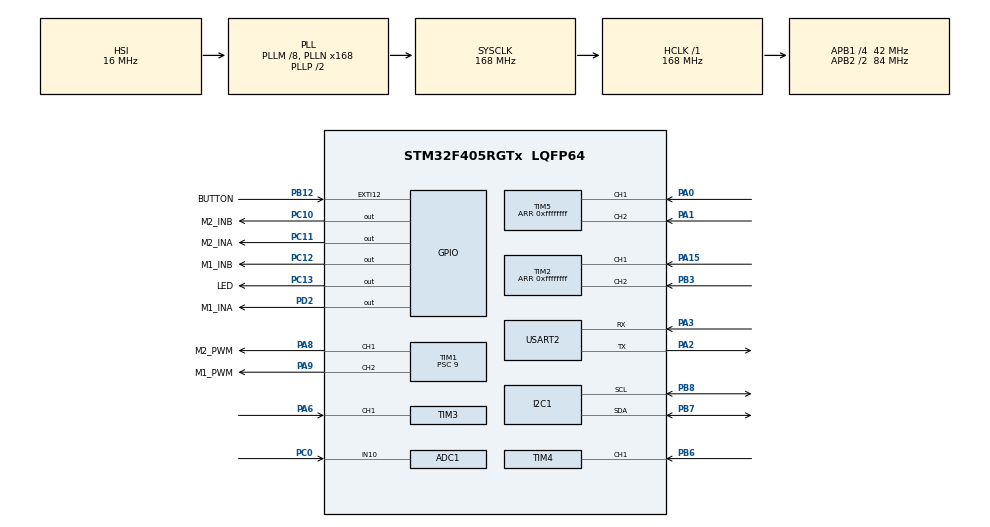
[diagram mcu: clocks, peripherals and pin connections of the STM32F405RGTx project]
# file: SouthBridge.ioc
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ADC1.Channel-4\#ChannelRegularConversion=ADC_CHANNEL_10
ADC1.Channel-5\#ChannelRegularConversion=ADC_CHANNEL_10
ADC1.ContinuousConvMode=ENABLE
ADC1.DMAContinuousRequests=ENABLE
ADC1.EOCSelection=ADC_EOC_SEQ_CONV
ADC1.ExternalTrigConv=ADC_SOFTWARE_START
ADC1.NbrOfConversion=2
ADC1.NbrOfConversionFlag=1
ADC1.Rank-4\#ChannelRegularConversion=1
ADC1.Rank-5\#ChannelRegularConversion=2
ADC1.SamplingTime-4\#ChannelRegularConversion=ADC_SAMPLETIME_480CYCLES
ADC1.SamplingTime-5\#ChannelRegularConversion=ADC_SAMPLETIME_480CYCLES
ADC1.ScanConvMode=ENABLE
ADC1.master=1
Dma.ADC1.2.Direction=DMA_PERIPH_TO_MEMORY
Dma.ADC1.2.FIFOMode=DMA_FIFOMODE_DISABLE
Dma.ADC1.2.Instance=DMA2_Stream0
Dma.ADC1.2.MemDataAlignment=DMA_MDATAALIGN_HALFWORD
Dma.ADC1.2.MemInc=DMA_MINC_ENABLE
Dma.ADC1.2.Mode=DMA_CIRCULAR
Dma.ADC1.2.PeriphDataAlignment=DMA_PDATAALIGN_HALFWORD
Dma.ADC1.2.PeriphInc=DMA_PINC_DISABLE
Dma.ADC1.2.Priority=DMA_PRIORITY_LOW
Dma.Request0=USART2_RX
Dma.Request1=USART2_TX
Dma.Request2=ADC1
Dma.USART2_RX.0.Direction=DMA_PERIPH_TO_MEMORY
Dma.USART2_RX.0.FIFOMode=DMA_FIFOMODE_DISABLE
Dma.USART2_RX.0.Instance=DMA1_Stream5
Dma.USART2_RX.0.MemDataAlignment=DMA_MDATAALIGN_BYTE
Dma.USART2_RX.0.MemInc=DMA_MINC_ENABLE
Dma.USART2_RX.0.Mode=DMA_CIRCULAR
Dma.USART2_RX.0.PeriphDataAlignment=DMA_PDATAALIGN_BYTE
Dma.USART2_RX.0.PeriphInc=DMA_PINC_DISABLE
Dma.USART2_RX.0.Priority=DMA_PRIORITY_LOW
Dma.USART2_TX.1.Direction=DMA_MEMORY_TO_PERIPH
Dma.USART2_TX.1.FIFOMode=DMA_FIFOMODE_DISABLE
Dma.USART2_TX.1.Instance=DMA1_Stream6
Dma.USART2_TX.1.MemDataAlignment=DMA_MDATAALIGN_BYTE
Dma.USART2_TX.1.MemInc=DMA_MINC_ENABLE
Dma.USART2_TX.1.Mode=DMA_NORMAL
Dma.USART2_TX.1.PeriphDataAlignment=DMA_PDATAALIGN_BYTE
Dma.USART2_TX.1.PeriphInc=DMA_PINC_DISABLE
Dma.USART2_TX.1.Priority=DMA_PRIORITY_LOW
I2C1.I2C_Mode=I2C_Fast
Mcu.Family=STM32F4
Mcu.Name=STM32F405RGTx
Mcu.Package=LQFP64
NVIC.DMA1_Stream5_IRQn=true\:0\:0\:false\:false\:true\:false
NVIC.DMA1_Stream6_IRQn=true\:0\:0\:false\:false\:true\:false
NVIC.DMA2_Stream0_IRQn=true\:0\:0\:false\:false\:true\:true
NVIC.EXTI15_10_IRQn=true\:0\:0\:false\:false\:true\:true
NVIC.PriorityGroup=NVIC_PRIORITYGROUP_4
NVIC.TIM3_IRQn=true\:0\:0\:false\:false\:true\:true
NVIC.USART2_IRQn=true\:0\:0\:false\:false\:true\:true
PA0-WKUP.Signal=S_TIM5_CH1
PA1.Signal=S_TIM5_CH2
PA13.Mode=Serial_Wire
PA13.Signal=SYS_JTMS-SWDIO
PA14.Mode=Serial_Wire
PA14.Signal=SYS_JTCK-SWCLK
PA15.Signal=S_TIM2_CH1_ETR
PA2.Mode=Asynchronous
PA2.Signal=USART2_TX
PA3.Mode=Asynchronous
PA3.Signal=USART2_RX
PA6.Signal=S_TIM3_CH1
PA8.GPIO_Label=M2_PWM
PA8.Signal=S_TIM1_CH1
PA9.GPIO_Label=M1_PWM
PA9.Signal=S_TIM1_CH2
PB12.GPIO_Label=BUTTON
PB12.GPIO_ModeDefaultEXTI=GPIO_MODE_IT_FALLING
PB12.Signal=GPXTI12
PB3.Signal=S_TIM2_CH2
PB6.Signal=S_TIM4_CH1
PB7.Mode=I2C
PB7.Signal=I2C1_SDA
PB8.Mode=I2C
PB8.Signal=I2C1_SCL
PC0.Signal=ADCx_IN10
PC10.GPIO_Label=M2_INB
PC10.Signal=GPIO_Output
PC11.GPIO_Label=M2_INA
PC11.Signal=GPIO_Output
PC12.GPIO_Label=M1_INB
PC12.Signal=GPIO_Output
PC13-ANTI_TAMP.GPIO_Label=LED
PC13-ANTI_TAMP.Signal=GPIO_Output
PD2.GPIO_Label=M1_INA
PD2.Signal=GPIO_Output
ProjectManager.HeapSize=0x200
ProjectManager.StackSize=0x400
ProjectManager.TargetToolchain=TrueSTUDIO
RCC.48MHZClocksFreq_Value=84000000
RCC.AHBFreq_Value=168000000
RCC.APB1CLKDivider=RCC_HCLK_DIV4
RCC.APB1Freq_Value=42000000
RCC.APB1TimFreq_Value=84000000
RCC.APB2CLKDivider=RCC_HCLK_DIV2
RCC.APB2Freq_Value=84000000
RCC.APB2TimFreq_Value=168000000
RCC.CortexFreq_Value=168000000
RCC.HCLKFreq_Value=168000000
RCC.HSE_VALUE=25000000
RCC.HSI_VALUE=16000000
RCC.LSE_VALUE=32768
RCC.PLLM=8
RCC.PLLN=168
RCC.SYSCLKFreq_VALUE=168000000
RCC.SYSCLKSource=RCC_SYSCLKSOURCE_PLLCLK
RCC.VCOOutputFreq_Value=336000000
SH.ADCx_IN10.0=ADC1_IN10,IN10
SH.S_TIM1_CH1.0=TIM1_CH1,PWM Generation1 CH1
SH.S_TIM1_CH2.0=TIM1_CH2,PWM Generation2 CH2
SH.S_TIM2_CH1_ETR.0=TIM2_CH1,Encoder_Interface
SH.S_TIM2_CH2.0=TIM2_CH2,Encoder_Interface
SH.S_TIM3_CH1.0=TIM3_CH1,PWM_Input_1
SH.S_TIM4_CH1.0=TIM4_CH1,PWM_Input_1
SH.S_TIM5_CH1.0=TIM5_CH1,Encoder_Interface
SH.S_TIM5_CH2.0=TIM5_CH2,Encoder_Interface
TIM1.Channel-PWM\ Generation1\ CH1=TIM_CHANNEL_1
TIM1.Channel-PWM\ Generation2\ CH2=TIM_CHANNEL_2
TIM1.Period=999
TIM1.Prescaler=9
TIM14.Period=0xFFFF
TIM14.Prescaler=83
TIM2.EncoderMode=TIM_ENCODERMODE_TI12
TIM2.Period=0xffffffff
TIM3.Period=19999
TIM3.Prescaler=83
TIM4.Period=19999
TIM4.Prescaler=83
TIM5.EncoderMode=TIM_ENCODERMODE_TI12
TIM5.Period=0xffffffff
USART2.VirtualMode=VM_ASYNC
VP_TIM14_VS_ClockSourceINT.Mode=Enable_Timer
VP_TIM1_VS_ClockSourceINT.Mode=Internal
VP_TIM3_VS_ClockSourceINT.Mode=Internal
VP_TIM4_VS_ClockSourceINT.Mode=Internal
board=SouthBridge

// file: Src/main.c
/**
  ******************************************************************************
  * @file           : main.c
  * @brief          : Main program body
  ******************************************************************************
  ** This notice applies to any and all portions of this file
  * that are not between comment pairs USER CODE BEGIN and
  * USER CODE END. Other portions of this file, whether
  * inserted by the user or by software development tools
  * are owned by their respective copyright owners.
  *
  * COPYRIGHT(c) 2018 STMicroelectronics
  *
  * Redistribution and use in source and binary forms, with or without modification,
  * are permitted provided that the following conditions are met:
  *   1. Redistributions of source code must retain the above copyright notice,
  *      this list of conditions and the following disclaimer.
  *   2. Redistributions in binary form must reproduce the above copyright notice,
  *      this list of conditions and the following disclaimer in the documentation
  *      and/or other materials provided with the distribution.
  *   3. Neither the name of STMicroelectronics nor the names of its contributors
  *      may be used to endorse or promote products derived from this software
  *      without specific prior written permission.
  *
  * THIS SOFTWARE IS PROVIDED BY THE COPYRIGHT HOLDERS AND CONTRIBUTORS "AS IS"
  * AND ANY EXPRESS OR IMPLIED WARRANTIES, INCLUDING, BUT NOT LIMITED TO, THE
  * IMPLIED WARRANTIES OF MERCHANTABILITY AND FITNESS FOR A PARTICULAR PURPOSE ARE
  * DISCLAIMED. IN NO EVENT SHALL THE COPYRIGHT HOLDER OR CONTRIBUTORS BE LIABLE
  * FOR ANY DIRECT, INDIRECT, INCIDENTAL, SPECIAL, EXEMPLARY, OR CONSEQUENTIAL
  * DAMAGES (INCLUDING, BUT NOT LIMITED TO, PROCUREMENT OF SUBSTITUTE GOODS OR
  * SERVICES; LOSS OF USE, DATA, OR PROFITS; OR BUSINESS INTERRUPTION) HOWEVER
  * CAUSED AND ON ANY THEORY OF LIABILITY, WHETHER IN CONTRACT, STRICT LIABILITY,
  * OR TORT (INCLUDING NEGLIGENCE OR OTHERWISE) ARISING IN ANY WAY OUT OF THE USE
  * OF THIS SOFTWARE, EVEN IF ADVISED OF THE POSSIBILITY OF SUCH DAMAGE.
  *
  ******************************************************************************
  */
#include "main.h"
#include "stm32f4xx_hal.h"

/* USER CODE BEGIN Includes */
//#define __Print_All_Raw_Sensor__
//#define __Print_All_Scaled_Sensor__
//#define __Print_AHRS_Orientation__
//#define __Print_MyAHRS_Orientation__
//#define __Print_MotionCal__
#define __Print_PID_Motor__

#include "battery.h"
#include "led.h"
#include "ppm_sum_input.h"
#include "encoder.h"
#include "motor.h"
#include "pid.h"
#include "serial.h"
#include "mymath.h"
#include "imu.h"
#include "LSM6DS33.h"
#include "LIS3MDL.h"
#include <math.h>
#include "myAHRS.h"
#include "speed.h"

/* USER CODE END Includes */

ADC_HandleTypeDef hadc1;
DMA_HandleTypeDef hdma_adc1;

I2C_HandleTypeDef hi2c1;

TIM_HandleTypeDef htim1;
TIM_HandleTypeDef htim2;
TIM_HandleTypeDef htim3;
TIM_HandleTypeDef htim4;
TIM_HandleTypeDef htim5;
TIM_HandleTypeDef htim14;

UART_HandleTypeDef huart2;
DMA_HandleTypeDef hdma_usart2_rx;
DMA_HandleTypeDef hdma_usart2_tx;

/* USER CODE BEGIN PV */
/* Private variables ---------------------------------------------------------*/
typedef enum
{
	RUNNING = 0,
	RUNNING_AND_RX,
	SHUTDOWN,
	POWER_STATUS_COUNT
} POWER_STATUS;

char * const power_status_led_sequence[] = {
		".             ", 	//!RUNNING
		"__        ", 		//!RUNNING_AND_RX
		". . . . . . . ", 	//!SHUTDOWN
};

POWER_STATUS power_status = RUNNING;
uint32_t rx_timestamp = 0;

HAL_LED_HandleTypeDef hled;

HAL_PPM_SUM_Input_HandleTypeDef hppmi;

HAL_Encoder_HandleTypeDef hencoder;

double xpid_kp = 4000.0; // 1000.0
double xpid_ki = 100.0; // 2.0
double xpid_kd = 0.0;
pid_win_handler xpid = {
		&xpid_kp,
		&xpid_ki,
		&xpid_kd,
	    -1000.0f,
		1000.0f,
	    100,
	    0.5f
};
double wpid_kp = 20.0;
double wpid_ki = 0.4;
double wpid_kd = 0.0;
pid_win_handler wpid = {
		&wpid_kp,
		&wpid_ki,
		&wpid_kd,
	    -1000.0f,
		1000.0f,
	    100,
	    0.5f
};

HAL_Serial_Handler hcom;

IMU_HandleTypeDef imu;
static float const imu_sensor_offset[SENSOR_COUNT] = { 41.0f, -677.0f, -146.0f, 0.0f, 0.0f, 0.0f, 357.0f, -1296.0f, 5681.0f };
// first 3 value are provided by gyro calibration (bias)
// last 3 values are provided by hard iron calibration
static float const imu_sensor_scale_factor[SENSOR_COUNT] = {
		0.00875f*0.99f, 	// 8.75 mdps/LSB * sensitivity correction with turn table
		0.00875f*0.99f, 	// 8.75 mdps/LSB * sensitivity correction with turn table
		0.00875f*0.99f, 	// 8.75 mdps/LSB * sensitivity correction with turn table
		0.000061f, 		// 0,061 mg/LSB
		0.000061f, 		// 0,061 mg/LSB
		0.000061f, 		// 0,061 mg/LSB
		0.000146f, // 68xx LSB/gauss
		0.000146f,
		0.000146f
};
static float const imu_mag_softiron_matrix[3][3] = {
		{  1.0,  0.0,  0.0 },
        {  0.0,  1.0,  0.0 },
        {  0.0,  0.0,  1.0 } };	// all values from MotionCal
static HAL_Imu_ConfigurationElementTypeDef const imu_sensor_config[] = {
		{ IMU_LSM6DS33_ADDRESS, IMU_LSM6DS33_REGISTER_WHO_AM_I, IMU_LSM6DS33_WHO_AM_I, IMU_READ_CHECK }, //! check sensor communication

		{ IMU_LSM6DS33_ADDRESS, IMU_LSM6DS33_REGISTER_CTRL1_XL,	0x50, IMU_WRITE_AND_CHECK},
		// write 0101 0000 = 0x50
		// [7-4]: ODR_XL [3:0] = 0101b - ODR = 208 Hz
		// [3-2]: FS_XL [1:0] = 00b - Scale = ±2 g
		// [1-0]: BW_XL [1:0] = 00b - Filter = 400 Hz

		{ IMU_LSM6DS33_ADDRESS, IMU_LSM6DS33_REGISTER_CTRL2_G,	0x50, IMU_WRITE_AND_CHECK},
		// write 0101 0000= 0x50
		// [7-4]: ODR_G [3:0] = 0101b - ODR = 208 Hz
		// [3-2]: FS_G [1:0] = 00b - Scale =  250 dps
		// [1]: FS_125 = 0b - Disable Gyroscope full-scale at 125 dps
		// [0]: unused

		{ IMU_LSM6DS33_ADDRESS, IMU_LSM6DS33_REGISTER_CTRL3_C,	0x46, IMU_WRITE_AND_CHECK},
		// write 0100 0110= 0x46
		// [7]: BOOT = 0
		// [6]: BDU = 1 - output registers not updated until MSB and LSB have been read
		// [5]: H_LACTIVE = 0
		// [4]: PP_OD = 0
		// [3]: SIM = 0
		// [2]: IF_INC = 1 - Register address automatically incremented during a multiple byte access
		// [1]: BLE = 1 -  data MSB @ lower address
		// [0]: SW_RESET = 0

		{ IMU_LSM6DS33_ADDRESS, IMU_LSM6DS33_REGISTER_CTRL9_XL,	0x38, IMU_WRITE_AND_CHECK},
		// write 0011 1000= 0x38
		// [7]: unused
		// [6]: unused
		// [5]: Zen_XL = 1 - Accelerometer Z-axis output enable
		// [4]: Yen_XL = 1 - Accelerometer Y-axis output enable
		// [3]: Xen_XL = 1 - Accelerometer X-axis output enable
		// [2]: unused
		// [1]: unused
		// [0]: unused

		{ IMU_LSM6DS33_ADDRESS, IMU_LSM6DS33_REGISTER_CTRL10_C,	0x38, IMU_WRITE_AND_CHECK},
		// write 0011 1000= 0x38
		// [7]: unused
		// [6]: unused
		// [5]: Zen_G = 1 - Gyroscope yaw axis (Z) output enable
		// [4]: Yen_G = 1 - Gyroscope roll axis (Y) output enable
		// [3]: Xen_G = 1 - Gyroscope pitch axis (X) output enable
		// [2]: FUNC_EN = 0
		// [1]: PEDO_RST_STEP = 0
		// [0]: SIGN_MOTION_EN = 0

		{ IMU_LIS3MDL_ADDRESS, IMU_LIS3MDL_REGISTER_WHO_AM_I, IMU_LIS3MDL_WHO_AM_I, IMU_READ_CHECK }, //! check sensor communication

		{ IMU_LIS3MDL_ADDRESS, IMU_LIS3MDL_REGISTER_CTRL1,	0x50, IMU_WRITE_AND_CHECK},
		// write 0101 0000= 0x50
		// [7]: TEMP_EN = 0
		// [6-5]: OM[1:0] = 10b - High-performance mode
		// [4-2]: DO[2:0] = 100b - 10Hz
		// [1]: FAST_ODR = 0
		// [0]: ST = 0

		{ IMU_LIS3MDL_ADDRESS, IMU_LIS3MDL_REGISTER_CTRL2,	0x00, IMU_WRITE_AND_CHECK},
		// write 0000 0000= 0x00
		// [7]: unused
		// [6-5]: FS[1:0] = 00b - ±4 gauss
		// [4]: unused
		// [3]: REBOOT = 0b
		// [2]: SOFT_RST = 0b
		// [1]: unused
		// [0]: unused

		{ IMU_LIS3MDL_ADDRESS, IMU_LIS3MDL_REGISTER_CTRL3,	0x00, IMU_WRITE_AND_CHECK},
		// write 0000 0000= 0x03
		// [7]: unused
		// [6]: unused
		// [5]: LP = 0b
		// [4]: unused
		// [3]: unused
		// [2]: SIM = 0b
		// [1-0]: MD[1:0] = 00b -  Continuous-conversion mode

		{ IMU_LIS3MDL_ADDRESS, IMU_LIS3MDL_REGISTER_CTRL4,	0x0A, IMU_WRITE_AND_CHECK},
		// write 0000 1010 = 0x0A
		// [7]: unused
		// [6]: unused
		// [5]: unused
		// [4]: unused
		// [3-2]: OMZ[1:0] = 10b - High-performance mode
		// [1]: BLE = 1b - data MSb at lower address
		// [0]: unused

		{ IMU_LIS3MDL_ADDRESS, IMU_LIS3MDL_REGISTER_CTRL5,	0x40, IMU_WRITE_AND_CHECK},
		// write 0100 0000= 0x40
		// [7]: FAST_READ = 0b -  FAST_READ disabled
		// [6]: BDU = 1b -  output registers not updated until MSb and LSb have been read
		// [5]: unused
		// [4]: unused
		// [3]: unused
		// [2]: unused
		// [1]: unused
		// [0]: unused

		{0,0,0,0} //! end of config
};
uint16_t imu_sensor_device_addr[3] = { IMU_LSM6DS33_ADDRESS, IMU_LSM6DS33_ADDRESS, IMU_LIS3MDL_ADDRESS };
uint16_t imu_sensor_reg_addr[3] = { IMU_LSM6DS33_REGISTER_OUTX_L_G, IMU_LSM6DS33_REGISTER_OUTX_L_XL, IMU_LIS3MDL_REGISTER_OUT_X_L };

AHRS_HandleTypeDef ahrs;

float x = 0.0f;
float y = 0.0f;

typedef struct
{
	int32_t cmd;
	int32_t x;
	int32_t y;
	int32_t w;
	int32_t chksum;
} POD_Command;

uint32_t const command_fifo_size = 32;
POD_Command command_fifo[32];
uint32_t command_fifo_input = 0;
uint32_t command_fifo_current = 0;
POD_Command current_command = {0};

uint32_t current_command_step = 0;
float start_x = 0.0f;
float start_y = 0.0f;
float start_heading = 0.0f;
float const xspeed_max = 0.15f; 	// m.s
float const xacc_max = 0.10f; 		//m.s2
float const wspeed_max = 20.0f;	// dps
float const wacc_max = 30.0f;	// dps/s
float xspeed_current = 0.0f;
float xspeed_target = 0.0f;
float wspeed_current = 0.0f;
float wspeed_target = 0.0f;

/* USER CODE END PV */

void SystemClock_Config(void);
static void MX_GPIO_Init(void);
static void MX_DMA_Init(void);
static void MX_TIM1_Init(void);
static void MX_TIM2_Init(void);
static void MX_TIM5_Init(void);
static void MX_ADC1_Init(void);
static void MX_TIM3_Init(void);
static void MX_TIM4_Init(void);
static void MX_USART2_UART_Init(void);
static void MX_I2C1_Init(void);
static void MX_TIM14_Init(void);

void HAL_TIM_MspPostInit(TIM_HandleTypeDef *htim);

/* USER CODE BEGIN PFP */
/* Private function prototypes -----------------------------------------------*/
void HAL_TIM_IC_CaptureCallback(TIM_HandleTypeDef *htim)
{
	HAL_PPM_SUM_Input_ISR(htim);
}

void HAL_SYSTICK_Callback(void)
{

}

/* USER CODE END PFP */

int main(void)
{

  /* MCU Configuration----------------------------------------------------------*/

  /* Reset of all peripherals, Initializes the Flash interface and the Systick. */
  HAL_Init();

  /* Configure the system clock */
  SystemClock_Config();

  /* Initialize all configured peripherals */
  MX_GPIO_Init();
  MX_DMA_Init();
  MX_TIM1_Init();
  MX_TIM2_Init();
  MX_TIM5_Init();
  MX_ADC1_Init();
  MX_TIM3_Init();
  MX_TIM4_Init();
  MX_USART2_UART_Init();
  MX_I2C1_Init();
  MX_TIM14_Init();
  /* USER CODE BEGIN 2 */
  HAL_Battery_Init();
  HAL_Led_Init();
  HAL_Led_Add(&hled,LED_GPIO_Port,LED_Pin);
  HAL_Led_Set(&hled);
  HAL_PPM_SUM_Input_Init(&hppmi,&htim3);
  HAL_Encoder_Init(&hencoder,&htim5,&htim2);
  // RIGHT MOTOR <=> M1 PORT <=> TIM5, CW > positive counter
  // LEFT MOTOR <=> M2 PORT <=> TIM2, CW > positive counter
  HAL_Motor_Init();
  HAL_Motor_Set(HAL_MOTOR_ALL,HAL_MOTOR_AUTO,0);
  reset_pid_win(&xpid);
  reset_pid_win(&wpid);
  HAL_Serial_Init(&huart2,&hcom);
  HAL_Serial_Print(&hcom,"\n\n\nTETRA - SouthBridge v0.00\n");
  HAL_IMU_Init();
  HAL_IMU_Add(
		&imu,
		&hi2c1,
		imu_sensor_offset,
		imu_sensor_scale_factor,
		imu_mag_softiron_matrix,
		imu_sensor_config,
		imu_sensor_device_addr,
		imu_sensor_reg_addr
	);
	HAL_AHRS_Init(&ahrs,0.005,0.01);

  //uint32_t last_time = HAL_GetTick();
  HAL_TIM_Base_Start(&htim14);
  uint16_t last_time_us = __HAL_TIM_GET_COUNTER(&htim14);

  HAL_Led_Sequence(&hled,".         ",true);
  /* USER CODE END 2 */

  /* Infinite loop */
  while (1)
  {

  /* USER CODE BEGIN 3 */
	  //! Power and LED state
	  {
		  float power_level = HAL_Battery_Get(VBATT);
		  switch(power_status)
		  {
			case RUNNING:
				{
					if(power_level<(3.0*3.6))
					{
						power_status = SHUTDOWN;
						HAL_Led_Sequence(&hled,power_status_led_sequence[SHUTDOWN],true);
					}
					if(HAL_GetTick()<(rx_timestamp+1000))
					{
						power_status = RUNNING_AND_RX;
						HAL_Led_Sequence(&hled,power_status_led_sequence[RUNNING_AND_RX],true);
					}
				}
				break;
			case RUNNING_AND_RX:
				{
					if(power_level<(3.0*3.6))
					{
						power_status = SHUTDOWN;
						HAL_Led_Sequence(&hled,power_status_led_sequence[SHUTDOWN],true);
					}
					if(HAL_GetTick()>(rx_timestamp+1000))
					{
						power_status = RUNNING;
						HAL_Led_Sequence(&hled,power_status_led_sequence[RUNNING],true);
					}
				}
				break;
			case SHUTDOWN:
			default:
				{
					if(power_level>(3.0*3.8))
					{
						power_status = RUNNING;
						HAL_Led_Sequence(&hled,power_status_led_sequence[RUNNING],true);
					}
				}
				break;
		  }
		  HAL_Led_Process();
	  }

	  // COMMENT when using OpenMV
//	  // simple protocol command over the air
//	  enum
//	  {
//		  RC_WAITING = 0,
//		  RC_SOM,
//		  RC_CMD,
//		  RC_X,
//		  RC_Y,
//		  RC_W
//	  };
//	  static uint32_t remote_control_state = RC_WAITING;
//	  POD_Command remote_control;
//	  if(HAL_Serial_Available(&hcom))
//	  {
//		  uint8_t c = HAL_Serial_GetChar(&hcom);
//		  switch(remote_control_state)
//		  {
//		  case RC_WAITING:
//			  {
//				  if(c==255)
//				  {
//					  remote_control_state=RC_SOM;
//				  }
//			  }
//			  break;
//		  case RC_SOM:
//			  {
//				  remote_control.cmd = c;
//				  remote_control.chksum = c;
//				  remote_control_state=RC_CMD;
//			  }
//			  break;
//		  case RC_CMD:
//			  {
//				  remote_control.x = c;
//				  remote_control.chksum += c;
//				  remote_control_state=RC_X;
//			  }
//			  break;
//		  case RC_X:
//			  {
//				  remote_control.y = c;
//				  remote_control.chksum += c;
//				  remote_control_state=RC_Y;
//			  }
//			  break;
//		  case RC_Y:
//			  {
//				  remote_control.w = c;
//				  remote_control.chksum += c;
//				  remote_control_state=RC_W;
//			  }
//			  break;
//		  case RC_W:
//			  {
//				  if(remote_control.chksum%256 == c)
//				  {
//					  // post command into FIFO
//					  command_fifo[command_fifo_input] = remote_control;
//					  ++command_fifo_input;
//					  command_fifo_input=command_fifo_input%command_fifo_size;
//					  //HAL_Serial_Print(&hcom,"Command %d %d %d %d\n",remote_control.cmd,remote_control.x,remote_control.y,remote_control.w);
//				  }
//				  remote_control_state=RC_WAITING;
//			  }
//			  break;
//		  }
//		  //HAL_Serial_Print(&hcom,"RxD:%c...\n",HAL_Serial_GetChar(&hcom));
//	  }

	  // 200Hz processing
	  uint16_t current_time_us = __HAL_TIM_GET_COUNTER(&htim14);
	  uint16_t delta_time_us = current_time_us-last_time_us;
	  if(delta_time_us>=4808) //! 208Hz (ODR)
	  {
		  // period
		  float period_us = (float)(delta_time_us)/1000000.0f; //s
		  last_time_us = current_time_us;

		  // AHRS
		  HAL_IMU_Read_Sensors(&imu);
		  HAL_AHRS_Process(
				  &ahrs,
				  period_us,
				imu.scaled_sensor_data[GYR_X],
				imu.scaled_sensor_data[GYR_Y],
				imu.scaled_sensor_data[GYR_Z],
				imu.scaled_sensor_data[ACC_X],
				imu.scaled_sensor_data[ACC_Y],
				imu.scaled_sensor_data[ACC_Z],
				imu.scaled_sensor_data[MAG_X],
				imu.scaled_sensor_data[MAG_Y],
				imu.scaled_sensor_data[MAG_Z]
	   );

		  // Remote control (from PPM SUM/RX)
		  int32_t xspeed_rc = HAL_PPM_SUM_Input_Get(&hppmi,1,&rx_timestamp);
		  int32_t wspeed_rc = HAL_PPM_SUM_Input_Get(&hppmi,2,&rx_timestamp);
		  if(xspeed_rc > 950 && xspeed_rc < 2050 && wspeed_rc > 950 && wspeed_rc < 2050)
		  {
			  // deadband
			  int32_t const rc_dead_band = 25;
			  if(xspeed_rc<1500-rc_dead_band)
			  {
				  xspeed_rc += rc_dead_band;
			  }
			  else if(xspeed_rc>1500+rc_dead_band)
			  {
				  xspeed_rc -= rc_dead_band;
			  }
			  else
			  {
				  xspeed_rc = 1500;
			  }
			  if(wspeed_rc<1500-rc_dead_band)
			  {
				  wspeed_rc += rc_dead_band;
			  }
			  else if(wspeed_rc>1500+rc_dead_band)
			  {
				  wspeed_rc -= rc_dead_band;
			  }
			  else
			  {
				  wspeed_rc = 1500;
			  }
		  }
		  else
		  {
			  xspeed_rc = 1500;
			  wspeed_rc = 1500;
		  }
		  float xspeed_rc_scaled = (xspeed_rc-1500)*0.4/500; // m/s
		  //float wspeed_rc_scaled = (wspeed_rc-1500)*60.0/500; // dps
		  float wspeed_rc_scaled = 0.0f;
		  // let cam control direction

		  // decode OpenMV serial
		  static char serial_string[128];
		  static uint32_t serial_index = 0;
		  static float wspeed_cam = 0;
		  if(HAL_Serial_Available(&hcom))
		  {
				// accumulate input chars
				uint8_t c = HAL_Serial_GetChar(&hcom);
				serial_string[serial_index++]=c;
				serial_index %= 128;

				// decode when EOL
				if(c=='\n')
				{
					serial_index = 0;
					wspeed_cam = atoi(serial_string);
				}
		  }
		  wspeed_rc_scaled = -(float)wspeed_cam / 2.0;

		  // Remonte control (from NETWORK)
		  switch(current_command.cmd)
		  {
	  	  case 0:
			  {
				  // let PPM SUM/RX control the robot

				  // reset command state
				  current_command.cmd = 0;
				  current_command_step = 0;

				  // reset speed
				  xspeed_current = 0.0f;
				  xspeed_target = 0.0f;
				  wspeed_current = 0.0f;
				  wspeed_target = 0.0f;

				  // new command
				  if(command_fifo_input!=command_fifo_current)
				  {
					  current_command = command_fifo[command_fifo_current];
					  ++command_fifo_current;
					  command_fifo_current = command_fifo_current%command_fifo_size;
				  }
				  else
				  {
					  current_command.cmd = 0;
				  }
			  }
			  break;
	  	  case 1: // forward
			  {
				  switch (current_command_step)
				  {
				  case 0:
					  {
						  // store initial position
						  start_x = x;
						  start_y = y;
						  start_heading = ahrs.yaw_from_gyro; // TODO ne pas reprendre le cap courant, mais le cap absolu lié à une série de commande

						  // set speed
						  xspeed_target = xspeed_max;
						  xspeed_current = 0.0f;
						  wspeed_target = 0.0f;
						  wspeed_current = 0.0f;

						  // reset control
						  xspeed_rc_scaled = 0.0f;
						  wspeed_rc_scaled = 0.0f;

						  current_command_step = 1;
					  }
					  break;
				  case 1:
					  {
						  // update speed
						  xspeed_target = xspeed_max;
						  next_speed(&xspeed_current,xspeed_target,xacc_max,xacc_max,period_us*1000.0f);
						  wspeed_target = 0.0f;
						  wspeed_current = 0.0f;

						  // update control
						  xspeed_rc_scaled = xspeed_current;
						  wspeed_rc_scaled = 0.0f;

						  	float distance_done = sqrt((x-start_x)*(x-start_x) + (y-start_y)*(y-start_y));
						  	float distance_remaining = current_command.x*0.01f-distance_done;

						  	if(accelaration_until_distance_left(xspeed_current,0.0f,distance_remaining)<=-xacc_max)
						  	{
								// update speed
								xspeed_target = 0.01;
								next_speed(&xspeed_current,xspeed_target,xacc_max,xacc_max,period_us*1000.0f);
								wspeed_target = 0.0f;
								wspeed_current = 0.0f;

							  // update control
							  xspeed_rc_scaled = xspeed_current;
							  wspeed_rc_scaled = 0.0f;

						  		current_command_step = 2;
						  	}
					  }
					  break;
				  case 2:
					  {
						  // update speed
						  xspeed_target = 0.01;
						  next_speed(&xspeed_current,xspeed_target,xacc_max,xacc_max,period_us*1000.0f);
						  wspeed_target = 0.0f;
						  wspeed_current = 0.0f;

						  // update control
						  xspeed_rc_scaled = xspeed_current;
						  wspeed_rc_scaled = 0.0f;

						  	float distance_done = sqrt((x-start_x)*(x-start_x) + (y-start_y)*(y-start_y));
						  	float distance_remaining = current_command.x*0.01f-distance_done;

						  	if(distance_remaining<=0)
						  	{
								// update speed
								xspeed_target = 0.0f;
								xspeed_current = 0.0f;
								wspeed_target = 0.0f;
								wspeed_current = 0.0f;

								// update control
								xspeed_rc_scaled = 0.0f;
								wspeed_rc_scaled = 0.0f;

								current_command_step = 3;
						  	}

					  }
					  break;
				  case 3:
					  {
						  // update speed
						  xspeed_target = 0.0f;
						  xspeed_current = 0.0f;
						  wspeed_target = 0.0f;
						  wspeed_current = 0.0f;

						  // update control
						  xspeed_rc_scaled = 0.0f;
						  wspeed_rc_scaled = 0.0f;

						  // reset command state
						  current_command.cmd = 0;
						  current_command_step = 0;

						  // new command
						  if(command_fifo_input!=command_fifo_current)
						  {
							  current_command = command_fifo[command_fifo_current];
							  ++command_fifo_current;
							  command_fifo_current = command_fifo_current%command_fifo_size;
						  }
						  else
						  {
							  current_command.cmd = 0;
						  }

					  }
					  break;
				  }
			  }
			  break;
	  	  case 3: // turn right
			  {
				  switch (current_command_step)
				  {
				  case 0:
					  {
						  // store initial position
						  start_x = x;
						  start_y = y;
						  start_heading = ahrs.yaw_from_gyro;

						  // set speed
						  xspeed_target = 0.0f;
						  xspeed_current = 0.0f;
						  wspeed_target = wspeed_max;
						  wspeed_current = 0.0f;

						  // reset control
						  xspeed_rc_scaled = 0.0f;
						  wspeed_rc_scaled = 0.0f;

						  current_command_step = 1;
					  }
					  break;
				  case 1:
					  {
						  // update speed
						  xspeed_target = 0.0f;
						  xspeed_current = 0.0f;
						  wspeed_target = -wspeed_max;
						  next_speed(&wspeed_current,wspeed_target,wacc_max,wacc_max,period_us*1000.0f);

						  // update control
						  xspeed_rc_scaled = 0.0f;
						  wspeed_rc_scaled = wspeed_current;

						  float end_heading = start_heading-current_command.w;
						  if(end_heading>180.0) end_heading-=360.0f;
						  if(end_heading<-180.0) end_heading+=360.0f;
						  float current_heading = ahrs.yaw_from_gyro;
						  if(fabs(end_heading-current_heading)>180.0) current_heading+=360;
						  float angle_remaining = end_heading-current_heading;

						  	if(accelaration_until_angle_left(fabs(wspeed_current),0.0f,fabs(angle_remaining))<=-wacc_max)
						  	{
								// update speed
						  		xspeed_target = 0.0f;
						  		xspeed_current = 0.0f;
								wspeed_target = -2.0f;
								next_speed(&wspeed_current,wspeed_target,wacc_max,wacc_max,period_us*1000.0f);

								// update control
								xspeed_rc_scaled = 0.0f;
								wspeed_rc_scaled = wspeed_current;

						  		current_command_step = 2;
						  	}

					  }
					  break;
				  case 2:
					  {
						  // update speed
						  xspeed_target = 0.0f;
						  xspeed_current = 0.0f;
						  wspeed_target = -2.0f;
						  next_speed(&wspeed_current,wspeed_target,wacc_max,wacc_max,period_us*1000.0f);

						  // update control
						  xspeed_rc_scaled = 0.0f;
						  wspeed_rc_scaled = wspeed_current;

						  float end_heading = start_heading-current_command.w;
						  if(end_heading>180.0) end_heading-=360.0f;
						  if(end_heading<-180.0) end_heading+=360.0f;
						  float current_heading = ahrs.yaw_from_gyro;
						  if(fabs(end_heading-current_heading)>180.0) current_heading+=360;
						  float angle_remaining =end_heading-current_heading;

						  if(angle_remaining>=0)
						  	{
						  		// update speed
						  		xspeed_target = 0.0f;
						  		xspeed_current = 0.0f;
						  		wspeed_target = 0.0f;
						  		wspeed_current = 0.0f;

						  		// update control
							  xspeed_rc_scaled = 0.0f;
							  wspeed_rc_scaled = 0.0f;

						  		current_command_step = 3;
						  	}
					  }
					  break;
				  case 3:
					  {
							// update speed
							xspeed_target = 0.0f;
							xspeed_current = 0.0f;
							wspeed_target = 0.0f;
							wspeed_current = 0.0f;

						  // update control
						  xspeed_rc_scaled = 0.0f;
						  wspeed_rc_scaled = 0.0f;

						  // reset command state
						  current_command.cmd = 0;
						  current_command_step = 0;

						  // new command
						  if(command_fifo_input!=command_fifo_current)
						  {
							  current_command = command_fifo[command_fifo_current];
							  ++command_fifo_current;
							  command_fifo_current = command_fifo_current%command_fifo_size;
						  }
						  else
						  {
							  current_command.cmd = 0;
						  }

					  }
					  break;
				  }
			  }
			  break;

	  	  case 11: // forward continue
			  {
				  switch (current_command_step)
				  {
				  case 0:
					  {
						  start_x = x;
						  start_y = y;

						  xspeed_rc_scaled = 0.1f;
						  wspeed_rc_scaled = 0.0f;

						  current_command_step = 1;
					  }
					  break;
				  case 1:
					  {
						  xspeed_rc_scaled = 0.1f;
						  wspeed_rc_scaled = 0.0f;

							float distance = sqrt((x-start_x)*(x-start_x) + (y-start_y)*(y-start_y));
							if(distance>=current_command.x*0.01)
							{
								xspeed_rc_scaled = 0.0f;
								wspeed_rc_scaled = 0.0f;

								current_command_step = 2;
							}
					  }
					  break;
				  case 2:
					  {
						xspeed_rc_scaled = 0.1f;
						wspeed_rc_scaled = 0.0f;

						  // reset command state
						  current_command.cmd = 0;
						  current_command_step = 0;

						  // new command
						  if(command_fifo_input!=command_fifo_current)
						  {
							  current_command = command_fifo[command_fifo_current];
							  ++command_fifo_current;
							  command_fifo_current = command_fifo_current%command_fifo_size;
						  }
						  else
						  {
							  current_command.cmd = 0;
						  }

					  }
					  break;
				  }
			  }
			  break;
		  case 13: // right curve
			  {
				  switch (current_command_step)
				  {
				  case 0:
					  {
						  start_x = x;
						  start_y = y;
						  start_heading = ahrs.yaw_from_gyro;

						  xspeed_rc_scaled = 0.1f;
						  wspeed_rc_scaled = -20.0f;

						  current_command_step = 1;
					  }
					  break;
				  case 1:
					  {
						  xspeed_rc_scaled = 0.1f;
						  wspeed_rc_scaled = -20.0f;

						  float end_heading = start_heading-current_command.w;
						  if(end_heading>180.0) end_heading-=360.0f;
						  if(end_heading<-180.0) end_heading+=360.0f;
						  float current_heading = ahrs.yaw_from_gyro;
						  if(fabs(end_heading-current_heading)>180.0) current_heading+=360;

							if(current_heading<=end_heading)
							{
								xspeed_rc_scaled = 0.0f;
								wspeed_rc_scaled = 0.0f;

								current_command_step = 2;
							}
					  }
					  break;
				  case 2:
					  {
						xspeed_rc_scaled = 0.1f;
						wspeed_rc_scaled = 0.0f;

						  // reset command state
						  current_command.cmd = 0;
						  current_command_step = 0;

						  // new command
						  if(command_fifo_input!=command_fifo_current)
						  {
							  current_command = command_fifo[command_fifo_current];
							  ++command_fifo_current;
							  command_fifo_current = command_fifo_current%command_fifo_size;
						  }
						  else
						  {
							  current_command.cmd = 0;
						  }

					  }
					  break;
				  }
			  }
			  break;
	  	  default:
			  {
				  // reset command state
				  current_command.cmd = 0;
				  current_command_step = 0;
			  }
			  break;

		  }

		  // Attitude PID motor controler
		  float xspeed_actual = 0.0f;
		  float wspeed_actual = 0.0f;
		  float xpwm = 0.0f;
		  float wpwm = 0.0f;
		  {
			  int32_t const left_count = HAL_Encoder_Delta(&hencoder,HAL_ENCODER_LEFT);
			  int32_t const right_count = HAL_Encoder_Delta(&hencoder,HAL_ENCODER_RIGHT);

			  float const x_delta_count = (float)(left_count+right_count)/2.0f;
			  static double const distance_per_pulse = (PI_FLOAT*0.144f)/4480.0f; // 0.1mm per pulse , 4480 pulses per revolution, 0.45m per revolution
			  float const x_distance = (float)(x_delta_count)*distance_per_pulse; // m
			  xspeed_actual = x_distance/period_us;

			  float const w_delta_count = (float)(right_count-left_count);
			  float const w_distance = (float)(w_delta_count)*distance_per_pulse; // m
			  float const w_angle = ToDeg(fastAtan2(w_distance,0.30)); // degree, wheel base = 30cm
			  wspeed_actual = w_angle/period_us;

			  float const xerror = xspeed_rc_scaled-xspeed_actual;
			  float const werror = wspeed_rc_scaled-wspeed_actual;

			  xpwm = process_pid_win(&xpid,xerror);
			  wpwm = process_pid_win(&wpid,werror);

			  HAL_Motor_Set(HAL_MOTOR_LEFT,HAL_MOTOR_AUTO,(int32_t)(xpwm+wpwm));
			  HAL_Motor_Set(HAL_MOTOR_RIGHT,HAL_MOTOR_AUTO,(int32_t)(xpwm-wpwm));

			  // odometry
			  x += x_distance * cos(ToRad(ahrs.yaw_from_gyro));
			  y += x_distance * sin(ToRad(ahrs.yaw_from_gyro));
		  }

		  // debug
		  static uint32_t counter = 0;
		  if(((counter++)%4)== 0)
		  {
			  // Output for battery test
//			  HAL_Serial_Print(&hcom,"Bat:%dmV\n",
//					  (int32_t)(HAL_Battery_Get(VBATT)*1000.0)
//					);

#ifdef __Print_All_Raw_Sensor__
			  // Output ALL
			  HAL_Serial_Print(&hcom,"%d %d %d %d %d %d %d %d %d\n",
  					  imu.raw_sensor_data[ACC_X], imu.raw_sensor_data[ACC_Y], imu.raw_sensor_data[ACC_Z],
					  imu.raw_sensor_data[GYR_X], imu.raw_sensor_data[GYR_Y], imu.raw_sensor_data[GYR_Z],
  					  imu.raw_sensor_data[MAG_X], imu.raw_sensor_data[MAG_Y], imu.raw_sensor_data[MAG_Z]
					);
#endif

#ifdef __Print_All_Scaled_Sensor__
			  // Output ALL scaled
			  HAL_Serial_Print(&hcom,"%d %d %d %d %d %d %d %d %d %d %d %d\n",
					  	  (int32_t)(imu.scaled_sensor_data[ACC_X]*1000.0),
					  	  (int32_t)(imu.scaled_sensor_data[ACC_Y]*1000.0),
						  (int32_t)(imu.scaled_sensor_data[ACC_Z]*1000.0),
						  (int32_t)(imu.scaled_sensor_data[GYR_X]*1000.0),
						  (int32_t)(imu.scaled_sensor_data[GYR_Y]*1000.0),
							(int32_t)(imu.scaled_sensor_data[GYR_Z]*1000.0),
							(int32_t)(imu.scaled_sensor_data[MAG_X]*1000.0),
							(int32_t)(imu.scaled_sensor_data[MAG_Y]*1000.0),
							(int32_t)(imu.scaled_sensor_data[MAG_Z]*1000.0),

							(int32_t)(imu.gyro_rate_deviation.pitch*1000.0),
							(int32_t)(imu.gyro_rate_deviation.roll*1000.0),
							(int32_t)(imu.gyro_rate_deviation.yaw*1000.0)

								);
#endif

#ifdef __Print_MotionCal__
			  HAL_Serial_Print(&hcom,"Raw:%d,%d,%d,%d,%d,%d,%d,%d,%d\n\r",
  					  imu.raw_sensor_data[ACC_X], imu.raw_sensor_data[ACC_Y], imu.raw_sensor_data[ACC_Z],
					  imu.raw_sensor_data[GYR_X], imu.raw_sensor_data[GYR_Y], imu.raw_sensor_data[GYR_Z],
			  					  imu.raw_sensor_data[MAG_X], imu.raw_sensor_data[MAG_Y], imu.raw_sensor_data[MAG_Z]
					);
#endif

#ifdef __Print_MyAHRS_Orientation__
				 HAL_Serial_Print(&hcom,"Orientation: %d %d %d %d %d %d %d %d %d %d %d\n",
							(int32_t)(ToDeg(ahrs.angles_filtered.pitch)*1000.0f),
							(int32_t)(ToDeg(ahrs.angles_filtered.roll)*1000.0f),
							(int32_t)(ToDeg(ahrs.angles_filtered.yaw)*1000.0f),
							(int32_t)(ahrs.yaw_from_gyro*1000.0f),
							(int32_t)(ahrs.gravity*1000.0f),
							(int32_t)(ahrs.magnetic_field*1000.0f),
							(int32_t)(imu.gyro_rate_mean.yaw*1000.0f),
							(int32_t)(imu.gyro_rate_deviation.yaw*1000.0f),
							(int32_t)(imu.sensor_offset[GYR_Z]*1000.0f),
							(int32_t)(ToDeg(ahrs.magnetic_dip_angle)*1000.0f),
							(int32_t)(period_us*1000000.0f)
						);
#endif

#ifdef __Print_AHRS_Orientation__
				 HAL_Serial_Print(&hcom,"Orientation: %d %d %d\n",
							(int32_t)(ahrs.Pitch*1000.0f),
							(int32_t)(ahrs.Roll*1000.0f),
							(int32_t)(ahrs.Yaw*1000.0f)
						);
#endif

#ifdef __Print_PID_Motor__
				 HAL_Serial_Print(&hcom,"%d %d %d %d %d %d %d %d %d %d\n",
						 (int32_t)(xspeed_rc_scaled*1000.0f),
						 (int32_t)(xspeed_actual*1000.0f),
						 (int32_t)(xpwm),
						 (int32_t)(wspeed_rc_scaled*1000.0f),
						 (int32_t)(wspeed_actual*1000.0f),
						 (int32_t)(wpwm),
						 (int32_t)(ahrs.gyro_rate_tilt_compensated.yaw*1000.0f),
						 (int32_t)(ahrs.yaw_from_gyro*1000.0f),
						 (int32_t)(x*1000.0f),
						 (int32_t)(y*1000.0f)
						);
#endif
		  }
	  }
  }
  /* USER CODE END 3 */

}

void SystemClock_Config(void)
{

  RCC_OscInitTypeDef RCC_OscInitStruct;
  RCC_ClkInitTypeDef RCC_ClkInitStruct;

    /**Configure the main internal regulator output voltage
    */
  __HAL_RCC_PWR_CLK_ENABLE();

  __HAL_PWR_VOLTAGESCALING_CONFIG(PWR_REGULATOR_VOLTAGE_SCALE1);

    /**Initializes the CPU, AHB and APB busses clocks
    */
  RCC_OscInitStruct.OscillatorType = RCC_OSCILLATORTYPE_HSI;
  RCC_OscInitStruct.HSIState = RCC_HSI_ON;
  RCC_OscInitStruct.HSICalibrationValue = 16;
  RCC_OscInitStruct.PLL.PLLState = RCC_PLL_ON;
  RCC_OscInitStruct.PLL.PLLSource = RCC_PLLSOURCE_HSI;
  RCC_OscInitStruct.PLL.PLLM = 8;
  RCC_OscInitStruct.PLL.PLLN = 168;
  RCC_OscInitStruct.PLL.PLLP = RCC_PLLP_DIV2;
  RCC_OscInitStruct.PLL.PLLQ = 4;
  if (HAL_RCC_OscConfig(&RCC_OscInitStruct) != HAL_OK)
  {
    _Error_Handler(__FILE__, __LINE__);
  }

    /**Initializes the CPU, AHB and APB busses clocks
    */
  RCC_ClkInitStruct.ClockType = RCC_CLOCKTYPE_HCLK|RCC_CLOCKTYPE_SYSCLK
                              |RCC_CLOCKTYPE_PCLK1|RCC_CLOCKTYPE_PCLK2;
  RCC_ClkInitStruct.SYSCLKSource = RCC_SYSCLKSOURCE_PLLCLK;
  RCC_ClkInitStruct.AHBCLKDivider = RCC_SYSCLK_DIV1;
  RCC_ClkInitStruct.APB1CLKDivider = RCC_HCLK_DIV4;
  RCC_ClkInitStruct.APB2CLKDivider = RCC_HCLK_DIV2;

  if (HAL_RCC_ClockConfig(&RCC_ClkInitStruct, FLASH_LATENCY_5) != HAL_OK)
  {
    _Error_Handler(__FILE__, __LINE__);
  }

    /**Configure the Systick interrupt time
    */
  HAL_SYSTICK_Config(HAL_RCC_GetHCLKFreq()/1000);

    /**Configure the Systick
    */
  HAL_SYSTICK_CLKSourceConfig(SYSTICK_CLKSOURCE_HCLK);

  /* SysTick_IRQn interrupt configuration */
  HAL_NVIC_SetPriority(SysTick_IRQn, 0, 0);
}

/* ADC1 init function */
static void MX_ADC1_Init(void)
{

  ADC_ChannelConfTypeDef sConfig;

    /**Configure the global features of the ADC (Clock, Resolution, Data Alignment and number of conversion)
    */
  hadc1.Instance = ADC1;
  hadc1.Init.ClockPrescaler = ADC_CLOCK_SYNC_PCLK_DIV4;
  hadc1.Init.Resolution = ADC_RESOLUTION_12B;
  hadc1.Init.ScanConvMode = ENABLE;
  hadc1.Init.ContinuousConvMode = ENABLE;
  hadc1.Init.DiscontinuousConvMode = DISABLE;
  hadc1.Init.ExternalTrigConvEdge = ADC_EXTERNALTRIGCONVEDGE_NONE;
  hadc1.Init.ExternalTrigConv = ADC_SOFTWARE_START;
  hadc1.Init.DataAlign = ADC_DATAALIGN_RIGHT;
  hadc1.Init.NbrOfConversion = 2;
  hadc1.Init.DMAContinuousRequests = ENABLE;
  hadc1.Init.EOCSelection = ADC_EOC_SEQ_CONV;
  if (HAL_ADC_Init(&hadc1) != HAL_OK)
  {
    _Error_Handler(__FILE__, __LINE__);
  }

    /**Configure for the selected ADC regular channel its corresponding rank in the sequencer and its sample time.
    */
  sConfig.Channel = ADC_CHANNEL_10;
  sConfig.Rank = 1;
  sConfig.SamplingTime = ADC_SAMPLETIME_480CYCLES;
  if (HAL_ADC_ConfigChannel(&hadc1, &sConfig) != HAL_OK)
  {
    _Error_Handler(__FILE__, __LINE__);
  }

    /**Configure for the selected ADC regular channel its corresponding rank in the sequencer and its sample time.
    */
  sConfig.Rank = 2;
  if (HAL_ADC_ConfigChannel(&hadc1, &sConfig) != HAL_OK)
  {
    _Error_Handler(__FILE__, __LINE__);
  }

}

/* I2C1 init function */
static void MX_I2C1_Init(void)
{

  hi2c1.Instance = I2C1;
  hi2c1.Init.ClockSpeed = 400000;
  hi2c1.Init.DutyCycle = I2C_DUTYCYCLE_2;
  hi2c1.Init.OwnAddress1 = 0;
  hi2c1.Init.AddressingMode = I2C_ADDRESSINGMODE_7BIT;
  hi2c1.Init.DualAddressMode = I2C_DUALADDRESS_DISABLE;
  hi2c1.Init.OwnAddress2 = 0;
  hi2c1.Init.GeneralCallMode = I2C_GENERALCALL_DISABLE;
  hi2c1.Init.NoStretchMode = I2C_NOSTRETCH_DISABLE;
  if (HAL_I2C_Init(&hi2c1) != HAL_OK)
  {
    _Error_Handler(__FILE__, __LINE__);
  }

}

/* TIM1 init function */
static void MX_TIM1_Init(void)
{

  TIM_ClockConfigTypeDef sClockSourceConfig;
  TIM_MasterConfigTypeDef sMasterConfig;
  TIM_OC_InitTypeDef sConfigOC;
  TIM_BreakDeadTimeConfigTypeDef sBreakDeadTimeConfig;

  htim1.Instance = TIM1;
  htim1.Init.Prescaler = 9;
  htim1.Init.CounterMode = TIM_COUNTERMODE_UP;
  htim1.Init.Period = 999;
  htim1.Init.ClockDivision = TIM_CLOCKDIVISION_DIV1;
  htim1.Init.RepetitionCounter = 0;
  if (HAL_TIM_Base_Init(&htim1) != HAL_OK)
  {
    _Error_Handler(__FILE__, __LINE__);
  }

  sClockSourceConfig.ClockSource = TIM_CLOCKSOURCE_INTERNAL;
  if (HAL_TIM_ConfigClockSource(&htim1, &sClockSourceConfig) != HAL_OK)
  {
    _Error_Handler(__FILE__, __LINE__);
  }

  if (HAL_TIM_PWM_Init(&htim1) != HAL_OK)
  {
    _Error_Handler(__FILE__, __LINE__);
  }

  sMasterConfig.MasterOutputTrigger = TIM_TRGO_RESET;
  sMasterConfig.MasterSlaveMode = TIM_MASTERSLAVEMODE_DISABLE;
  if (HAL_TIMEx_MasterConfigSynchronization(&htim1, &sMasterConfig) != HAL_OK)
  {
    _Error_Handler(__FILE__, __LINE__);
  }

  sConfigOC.OCMode = TIM_OCMODE_PWM1;
  sConfigOC.Pulse = 0;
  sConfigOC.OCPolarity = TIM_OCPOLARITY_HIGH;
  sConfigOC.OCNPolarity = TIM_OCNPOLARITY_HIGH;
  sConfigOC.OCFastMode = TIM_OCFAST_DISABLE;
  sConfigOC.OCIdleState = TIM_OCIDLESTATE_RESET;
  sConfigOC.OCNIdleState = TIM_OCNIDLESTATE_RESET;
  if (HAL_TIM_PWM_ConfigChannel(&htim1, &sConfigOC, TIM_CHANNEL_1) != HAL_OK)
  {
    _Error_Handler(__FILE__, __LINE__);
  }

  if (HAL_TIM_PWM_ConfigChannel(&htim1, &sConfigOC, TIM_CHANNEL_2) != HAL_OK)
  {
    _Error_Handler(__FILE__, __LINE__);
  }

  sBreakDeadTimeConfig.OffStateRunMode = TIM_OSSR_DISABLE;
  sBreakDeadTimeConfig.OffStateIDLEMode = TIM_OSSI_DISABLE;
  sBreakDeadTimeConfig.LockLevel = TIM_LOCKLEVEL_OFF;
  sBreakDeadTimeConfig.DeadTime = 0;
  sBreakDeadTimeConfig.BreakState = TIM_BREAK_DISABLE;
  sBreakDeadTimeConfig.BreakPolarity = TIM_BREAKPOLARITY_HIGH;
  sBreakDeadTimeConfig.AutomaticOutput = TIM_AUTOMATICOUTPUT_DISABLE;
  if (HAL_TIMEx_ConfigBreakDeadTime(&htim1, &sBreakDeadTimeConfig) != HAL_OK)
  {
    _Error_Handler(__FILE__, __LINE__);
  }

  HAL_TIM_MspPostInit(&htim1);

}

/* TIM2 init function */
static void MX_TIM2_Init(void)
{

  TIM_Encoder_InitTypeDef sConfig;
  TIM_MasterConfigTypeDef sMasterConfig;

  htim2.Instance = TIM2;
  htim2.Init.Prescaler = 0;
  htim2.Init.CounterMode = TIM_COUNTERMODE_UP;
  htim2.Init.Period = 0xffffffff;
  htim2.Init.ClockDivision = TIM_CLOCKDIVISION_DIV1;
  sConfig.EncoderMode = TIM_ENCODERMODE_TI12;
  sConfig.IC1Polarity = TIM_ICPOLARITY_RISING;
  sConfig.IC1Selection = TIM_ICSELECTION_DIRECTTI;
  sConfig.IC1Prescaler = TIM_ICPSC_DIV1;
  sConfig.IC1Filter = 0;
  sConfig.IC2Polarity = TIM_ICPOLARITY_RISING;
  sConfig.IC2Selection = TIM_ICSELECTION_DIRECTTI;
  sConfig.IC2Prescaler = TIM_ICPSC_DIV1;
  sConfig.IC2Filter = 0;
  if (HAL_TIM_Encoder_Init(&htim2, &sConfig) != HAL_OK)
  {
    _Error_Handler(__FILE__, __LINE__);
  }

  sMasterConfig.MasterOutputTrigger = TIM_TRGO_RESET;
  sMasterConfig.MasterSlaveMode = TIM_MASTERSLAVEMODE_DISABLE;
  if (HAL_TIMEx_MasterConfigSynchronization(&htim2, &sMasterConfig) != HAL_OK)
  {
    _Error_Handler(__FILE__, __LINE__);
  }

}

/* TIM3 init function */
static void MX_TIM3_Init(void)
{

  TIM_ClockConfigTypeDef sClockSourceConfig;
  TIM_SlaveConfigTypeDef sSlaveConfig;
  TIM_IC_InitTypeDef sConfigIC;
  TIM_MasterConfigTypeDef sMasterConfig;

  htim3.Instance = TIM3;
  htim3.Init.Prescaler = 83;
  htim3.Init.CounterMode = TIM_COUNTERMODE_UP;
  htim3.Init.Period = 19999;
  htim3.Init.ClockDivision = TIM_CLOCKDIVISION_DIV1;
  if (HAL_TIM_Base_Init(&htim3) != HAL_OK)
  {
    _Error_Handler(__FILE__, __LINE__);
  }

  sClockSourceConfig.ClockSource = TIM_CLOCKSOURCE_INTERNAL;
  if (HAL_TIM_ConfigClockSource(&htim3, &sClockSourceConfig) != HAL_OK)
  {
    _Error_Handler(__FILE__, __LINE__);
  }

  if (HAL_TIM_IC_Init(&htim3) != HAL_OK)
  {
    _Error_Handler(__FILE__, __LINE__);
  }

  sSlaveConfig.SlaveMode = TIM_SLAVEMODE_RESET;
  sSlaveConfig.InputTrigger = TIM_TS_TI1FP1;
  sSlaveConfig.TriggerPolarity = TIM_INPUTCHANNELPOLARITY_RISING;
  sSlaveConfig.TriggerPrescaler = TIM_ICPSC_DIV1;
  sSlaveConfig.TriggerFilter = 0;
  if (HAL_TIM_SlaveConfigSynchronization(&htim3, &sSlaveConfig) != HAL_OK)
  {
    _Error_Handler(__FILE__, __LINE__);
  }

  sConfigIC.ICPolarity = TIM_INPUTCHANNELPOLARITY_RISING;
  sConfigIC.ICSelection = TIM_ICSELECTION_DIRECTTI;
  sConfigIC.ICPrescaler = TIM_ICPSC_DIV1;
  sConfigIC.ICFilter = 0;
  if (HAL_TIM_IC_ConfigChannel(&htim3, &sConfigIC, TIM_CHANNEL_1) != HAL_OK)
  {
    _Error_Handler(__FILE__, __LINE__);
  }

  sConfigIC.ICPolarity = TIM_INPUTCHANNELPOLARITY_FALLING;
  sConfigIC.ICSelection = TIM_ICSELECTION_INDIRECTTI;
  if (HAL_TIM_IC_ConfigChannel(&htim3, &sConfigIC, TIM_CHANNEL_2) != HAL_OK)
  {
    _Error_Handler(__FILE__, __LINE__);
  }

  sMasterConfig.MasterOutputTrigger = TIM_TRGO_RESET;
  sMasterConfig.MasterSlaveMode = TIM_MASTERSLAVEMODE_DISABLE;
  if (HAL_TIMEx_MasterConfigSynchronization(&htim3, &sMasterConfig) != HAL_OK)
  {
    _Error_Handler(__FILE__, __LINE__);
  }

}

/* TIM4 init function */
static void MX_TIM4_Init(void)
{

  TIM_ClockConfigTypeDef sClockSourceConfig;
  TIM_SlaveConfigTypeDef sSlaveConfig;
  TIM_IC_InitTypeDef sConfigIC;
  TIM_MasterConfigTypeDef sMasterConfig;

  htim4.Instance = TIM4;
  htim4.Init.Prescaler = 83;
  htim4.Init.CounterMode = TIM_COUNTERMODE_UP;
  htim4.Init.Period = 19999;
  htim4.Init.ClockDivision = TIM_CLOCKDIVISION_DIV1;
  if (HAL_TIM_Base_Init(&htim4) != HAL_OK)
  {
    _Error_Handler(__FILE__, __LINE__);
  }

  sClockSourceConfig.ClockSource = TIM_CLOCKSOURCE_INTERNAL;
  if (HAL_TIM_ConfigClockSource(&htim4, &sClockSourceConfig) != HAL_OK)
  {
    _Error_Handler(__FILE__, __LINE__);
  }

  if (HAL_TIM_IC_Init(&htim4) != HAL_OK)
  {
    _Error_Handler(__FILE__, __LINE__);
  }

  sSlaveConfig.SlaveMode = TIM_SLAVEMODE_RESET;
  sSlaveConfig.InputTrigger = TIM_TS_TI1FP1;
  sSlaveConfig.TriggerPolarity = TIM_INPUTCHANNELPOLARITY_RISING;
  sSlaveConfig.TriggerPrescaler = TIM_ICPSC_DIV1;
  sSlaveConfig.TriggerFilter = 0;
  if (HAL_TIM_SlaveConfigSynchronization(&htim4, &sSlaveConfig) != HAL_OK)
  {
    _Error_Handler(__FILE__, __LINE__);
  }

  sConfigIC.ICPolarity = TIM_INPUTCHANNELPOLARITY_RISING;
  sConfigIC.ICSelection = TIM_ICSELECTION_DIRECTTI;
  sConfigIC.ICPrescaler = TIM_ICPSC_DIV1;
  sConfigIC.ICFilter = 0;
  if (HAL_TIM_IC_ConfigChannel(&htim4, &sConfigIC, TIM_CHANNEL_1) != HAL_OK)
  {
    _Error_Handler(__FILE__, __LINE__);
  }

  sConfigIC.ICPolarity = TIM_INPUTCHANNELPOLARITY_FALLING;
  sConfigIC.ICSelection = TIM_ICSELECTION_INDIRECTTI;
  if (HAL_TIM_IC_ConfigChannel(&htim4, &sConfigIC, TIM_CHANNEL_2) != HAL_OK)
  {
    _Error_Handler(__FILE__, __LINE__);
  }

  sMasterConfig.MasterOutputTrigger = TIM_TRGO_RESET;
  sMasterConfig.MasterSlaveMode = TIM_MASTERSLAVEMODE_DISABLE;
  if (HAL_TIMEx_MasterConfigSynchronization(&htim4, &sMasterConfig) != HAL_OK)
  {
    _Error_Handler(__FILE__, __LINE__);
  }

}

/* TIM5 init function */
static void MX_TIM5_Init(void)
{

  TIM_Encoder_InitTypeDef sConfig;
  TIM_MasterConfigTypeDef sMasterConfig;

  htim5.Instance = TIM5;
  htim5.Init.Prescaler = 0;
  htim5.Init.CounterMode = TIM_COUNTERMODE_UP;
  htim5.Init.Period = 0xffffffff;
  htim5.Init.ClockDivision = TIM_CLOCKDIVISION_DIV1;
  sConfig.EncoderMode = TIM_ENCODERMODE_TI12;
  sConfig.IC1Polarity = TIM_ICPOLARITY_RISING;
  sConfig.IC1Selection = TIM_ICSELECTION_DIRECTTI;
  sConfig.IC1Prescaler = TIM_ICPSC_DIV1;
  sConfig.IC1Filter = 0;
  sConfig.IC2Polarity = TIM_ICPOLARITY_RISING;
  sConfig.IC2Selection = TIM_ICSELECTION_DIRECTTI;
  sConfig.IC2Prescaler = TIM_ICPSC_DIV1;
  sConfig.IC2Filter = 0;
  if (HAL_TIM_Encoder_Init(&htim5, &sConfig) != HAL_OK)
  {
    _Error_Handler(__FILE__, __LINE__);
  }

  sMasterConfig.MasterOutputTrigger = TIM_TRGO_RESET;
  sMasterConfig.MasterSlaveMode = TIM_MASTERSLAVEMODE_DISABLE;
  if (HAL_TIMEx_MasterConfigSynchronization(&htim5, &sMasterConfig) != HAL_OK)
  {
    _Error_Handler(__FILE__, __LINE__);
  }

}

/* TIM14 init function */
static void MX_TIM14_Init(void)
{

  htim14.Instance = TIM14;
  htim14.Init.Prescaler = 83;
  htim14.Init.CounterMode = TIM_COUNTERMODE_UP;
  htim14.Init.Period = 0xFFFF;
  htim14.Init.ClockDivision = TIM_CLOCKDIVISION_DIV1;
  if (HAL_TIM_Base_Init(&htim14) != HAL_OK)
  {
    _Error_Handler(__FILE__, __LINE__);
  }

}

/* USART2 init function */
static void MX_USART2_UART_Init(void)
{

  huart2.Instance = USART2;
  huart2.Init.BaudRate = 115200;
  huart2.Init.WordLength = UART_WORDLENGTH_8B;
  huart2.Init.StopBits = UART_STOPBITS_1;
  huart2.Init.Parity = UART_PARITY_NONE;
  huart2.Init.Mode = UART_MODE_TX_RX;
  huart2.Init.HwFlowCtl = UART_HWCONTROL_NONE;
  huart2.Init.OverSampling = UART_OVERSAMPLING_16;
  if (HAL_UART_Init(&huart2) != HAL_OK)
  {
    _Error_Handler(__FILE__, __LINE__);
  }

}

static void MX_DMA_Init(void)
{
  /* DMA controller clock enable */
  __HAL_RCC_DMA1_CLK_ENABLE();
  __HAL_RCC_DMA2_CLK_ENABLE();

  /* DMA interrupt init */
  /* DMA1_Stream5_IRQn interrupt configuration */
  HAL_NVIC_SetPriority(DMA1_Stream5_IRQn, 0, 0);
  HAL_NVIC_EnableIRQ(DMA1_Stream5_IRQn);
  /* DMA1_Stream6_IRQn interrupt configuration */
  HAL_NVIC_SetPriority(DMA1_Stream6_IRQn, 0, 0);
  HAL_NVIC_EnableIRQ(DMA1_Stream6_IRQn);
  /* DMA2_Stream0_IRQn interrupt configuration */
  HAL_NVIC_SetPriority(DMA2_Stream0_IRQn, 0, 0);
  HAL_NVIC_EnableIRQ(DMA2_Stream0_IRQn);

}

/** Configure pins as
        * Analog
        * Input
        * Output
        * EVENT_OUT
        * EXTI
*/
static void MX_GPIO_Init(void)
{

  GPIO_InitTypeDef GPIO_InitStruct;

  /* GPIO Ports Clock Enable */
  __HAL_RCC_GPIOC_CLK_ENABLE();
  __HAL_RCC_GPIOA_CLK_ENABLE();
  __HAL_RCC_GPIOB_CLK_ENABLE();
  __HAL_RCC_GPIOD_CLK_ENABLE();

  /*Configure GPIO pin Output Level */
  HAL_GPIO_WritePin(GPIOC, LED_Pin|M2_INB_Pin|M2_INA_Pin|M1_INB_Pin, GPIO_PIN_RESET);

  /*Configure GPIO pin Output Level */
  HAL_GPIO_WritePin(M1_INA_GPIO_Port, M1_INA_Pin, GPIO_PIN_RESET);

  /*Configure GPIO pins : LED_Pin M2_INB_Pin M2_INA_Pin M1_INB_Pin */
  GPIO_InitStruct.Pin = LED_Pin|M2_INB_Pin|M2_INA_Pin|M1_INB_Pin;
  GPIO_InitStruct.Mode = GPIO_MODE_OUTPUT_PP;
  GPIO_InitStruct.Pull = GPIO_NOPULL;
  GPIO_InitStruct.Speed = GPIO_SPEED_FREQ_LOW;
  HAL_GPIO_Init(GPIOC, &GPIO_InitStruct);

  /*Configure GPIO pin : BUTTON_Pin */
  GPIO_InitStruct.Pin = BUTTON_Pin;
  GPIO_InitStruct.Mode = GPIO_MODE_IT_FALLING;
  GPIO_InitStruct.Pull = GPIO_NOPULL;
  HAL_GPIO_Init(BUTTON_GPIO_Port, &GPIO_InitStruct);

  /*Configure GPIO pin : M1_INA_Pin */
  GPIO_InitStruct.Pin = M1_INA_Pin;
  GPIO_InitStruct.Mode = GPIO_MODE_OUTPUT_PP;
  GPIO_InitStruct.Pull = GPIO_NOPULL;
  GPIO_InitStruct.Speed = GPIO_SPEED_FREQ_LOW;
  HAL_GPIO_Init(M1_INA_GPIO_Port, &GPIO_InitStruct);

  /* EXTI interrupt init*/
  HAL_NVIC_SetPriority(EXTI15_10_IRQn, 0, 0);
  HAL_NVIC_EnableIRQ(EXTI15_10_IRQn);

}

void _Error_Handler(char *file, int line)
{
  while(1)
  {
  }
}

/************************ (C) COPYRIGHT STMicroelectronics *****END OF FILE****/
